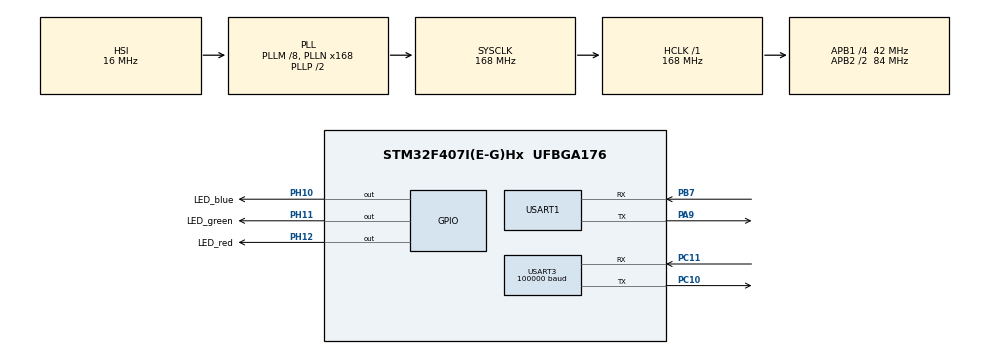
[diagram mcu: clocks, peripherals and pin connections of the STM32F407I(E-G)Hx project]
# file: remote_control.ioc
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Dma.Request0=USART1_TX
Dma.Request1=USART3_RX
Dma.USART1_TX.0.Direction=DMA_MEMORY_TO_PERIPH
Dma.USART1_TX.0.FIFOMode=DMA_FIFOMODE_DISABLE
Dma.USART1_TX.0.Instance=DMA2_Stream7
Dma.USART1_TX.0.MemDataAlignment=DMA_MDATAALIGN_BYTE
Dma.USART1_TX.0.MemInc=DMA_MINC_ENABLE
Dma.USART1_TX.0.Mode=DMA_NORMAL
Dma.USART1_TX.0.PeriphDataAlignment=DMA_PDATAALIGN_BYTE
Dma.USART1_TX.0.PeriphInc=DMA_PINC_DISABLE
Dma.USART1_TX.0.Priority=DMA_PRIORITY_VERY_HIGH
Dma.USART3_RX.1.Direction=DMA_PERIPH_TO_MEMORY
Dma.USART3_RX.1.FIFOMode=DMA_FIFOMODE_DISABLE
Dma.USART3_RX.1.Instance=DMA1_Stream1
Dma.USART3_RX.1.MemDataAlignment=DMA_MDATAALIGN_BYTE
Dma.USART3_RX.1.MemInc=DMA_MINC_ENABLE
Dma.USART3_RX.1.Mode=DMA_CIRCULAR
Dma.USART3_RX.1.PeriphDataAlignment=DMA_PDATAALIGN_BYTE
Dma.USART3_RX.1.PeriphInc=DMA_PINC_DISABLE
Dma.USART3_RX.1.Priority=DMA_PRIORITY_VERY_HIGH
Mcu.Family=STM32F4
Mcu.Name=STM32F407I(E-G)Hx
Mcu.Package=UFBGA176
NVIC.DMA1_Stream1_IRQn=true\:0\:0\:false\:false\:true\:false\:true\:true
NVIC.DMA2_Stream7_IRQn=true\:0\:0\:false\:false\:true\:false\:true\:true
NVIC.PriorityGroup=NVIC_PRIORITYGROUP_4
NVIC.USART1_IRQn=true\:0\:0\:false\:false\:true\:false\:true\:true
NVIC.USART3_IRQn=true\:0\:0\:false\:false\:true\:true\:true\:true
PA13.Mode=Serial_Wire
PA13.Signal=SYS_JTMS-SWDIO
PA14.Mode=Serial_Wire
PA14.Signal=SYS_JTCK-SWCLK
PA9.Mode=Asynchronous
PA9.Signal=USART1_TX
PB7.Mode=Asynchronous
PB7.Signal=USART1_RX
PC10.Mode=Asynchronous
PC10.Signal=USART3_TX
PC11.Mode=Asynchronous
PC11.Signal=USART3_RX
PC14-OSC32_IN.Mode=LSE-External-Oscillator
PC14-OSC32_IN.Signal=RCC_OSC32_IN
PC15-OSC32_OUT.Mode=LSE-External-Oscillator
PC15-OSC32_OUT.Signal=RCC_OSC32_OUT
PH0-OSC_IN.Mode=HSE-External-Oscillator
PH0-OSC_IN.Signal=RCC_OSC_IN
PH1-OSC_OUT.Mode=HSE-External-Oscillator
PH1-OSC_OUT.Signal=RCC_OSC_OUT
PH10.GPIO_Label=LED_blue
PH10.GPIO_PuPd=GPIO_PULLUP
PH10.GPIO_Speed=GPIO_SPEED_FREQ_HIGH
PH10.PinState=GPIO_PIN_SET
PH10.Signal=GPIO_Output
PH11.GPIO_Label=LED_green
PH11.GPIO_PuPd=GPIO_PULLUP
PH11.GPIO_Speed=GPIO_SPEED_FREQ_HIGH
PH11.PinState=GPIO_PIN_SET
PH11.Signal=GPIO_Output
PH12.GPIO_Label=LED_red
PH12.GPIO_PuPd=GPIO_PULLUP
PH12.GPIO_Speed=GPIO_SPEED_FREQ_HIGH
PH12.PinState=GPIO_PIN_SET
PH12.Signal=GPIO_Output
ProjectManager.HeapSize=0x200
ProjectManager.StackSize=0x400
ProjectManager.TargetToolchain=MDK-ARM V5.32
RCC.48MHZClocksFreq_Value=84000000
RCC.AHBFreq_Value=168000000
RCC.APB1CLKDivider=RCC_HCLK_DIV4
RCC.APB1Freq_Value=42000000
RCC.APB1TimFreq_Value=84000000
RCC.APB2CLKDivider=RCC_HCLK_DIV2
RCC.APB2Freq_Value=84000000
RCC.APB2TimFreq_Value=168000000
RCC.CortexFreq_Value=168000000
RCC.HCLKFreq_Value=168000000
RCC.HSE_VALUE=25000000
RCC.HSI_VALUE=16000000
RCC.PLLM=8
RCC.PLLN=168
RCC.SYSCLKFreq_VALUE=168000000
RCC.SYSCLKSource=RCC_SYSCLKSOURCE_PLLCLK
RCC.VCOOutputFreq_Value=336000000
USART1.VirtualMode=VM_ASYNC
USART3.BaudRate=100000
USART3.Parity=PARITY_EVEN
USART3.VirtualMode=VM_ASYNC
board=custom

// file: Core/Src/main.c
/* USER CODE BEGIN Header */
/**
  ******************************************************************************
  * @file           : main.c
  * @brief          : Main program body
  ******************************************************************************
  * @attention
  *
  * Copyright (c) 2025 STMicroelectronics.
  * All rights reserved.
  *
  * This software is licensed under terms that can be found in the LICENSE file
  * in the root directory of this software component.
  * If no LICENSE file comes with this software, it is provided AS-IS.
  *
  ******************************************************************************
  */
/* USER CODE END Header */
#include "main.h"
#include "dma.h"
#include "usart.h"
#include "gpio.h"

/* USER CODE BEGIN Includes */
#include "rc.h"
#include "uart.h"
#include <stdio.h>
#include <stdarg.h>
#include "string.h"
/* USER CODE END Includes */

/* USER CODE BEGIN PV */
uint8_t UARTBUF[100];

uint8_t len = 0;

/* USER CODE END PV */

void SystemClock_Config(void);

/* USER CODE BEGIN 0 */
const RC_ctrl_t *local_rc_ctrl;

void usart_printf(const char *fmt,...)
{
    static uint8_t tx_buf[256] = {0};
    static va_list ap;
    static uint16_t len;
    va_start(ap, fmt);

    //return length of string
    //返回字符串长度
    len = vsprintf((char *)tx_buf, fmt, ap);

    va_end(ap);

   //usart1_tx_dma_enable(tx_buf, len);
   HAL_UART_Transmit_DMA(&huart1, tx_buf, len);

}

// void HAL_UART_RxCpltCallback(UART_HandleTypeDef *huart)
// {

// }
/* USER CODE END 0 */

int main(void)
{

  /* MCU Configuration--------------------------------------------------------*/

  /* Reset of all peripherals, Initializes the Flash interface and the Systick. */
  HAL_Init();

  /* Configure the system clock */
  SystemClock_Config();

  /* Initialize all configured peripherals */
  MX_GPIO_Init();
  MX_DMA_Init();
  MX_USART1_UART_Init();
  MX_USART3_UART_Init();
  /* USER CODE BEGIN 2 */
//  	HAL_GPIO_WritePin(LED_red_GPIO_Port, LED_red_Pin, GPIO_PIN_RESET);
//    HAL_GPIO_WritePin(LED_green_GPIO_Port, LED_green_Pin, GPIO_PIN_RESET);
//    HAL_GPIO_WritePin(LED_blue_GPIO_Port, LED_blue_Pin, GPIO_PIN_RESET);
//
  remote_control_init();
  usart1_tx_dma_init();
  local_rc_ctrl = get_remote_control_point();

  /* USER CODE END 2 */

  /* Infinite loop */
  while (1)
  {

    /* USER CODE BEGIN 3 */
     usart_printf(
"**********\r\n\
ch0:%d\r\n\
ch1:%d\r\n\
ch2:%d\r\n\
ch3:%d\r\n\
ch4:%d\r\n\
s1:%d\r\n\
s2:%d\r\n\
mouse_x:%d\r\n\
mouse_y:%d\r\n\
press_l:%d\r\n\
press_r:%d\r\n\
key:%d\r\n\
**********\r\n",
            local_rc_ctrl->rc.ch[0], local_rc_ctrl->rc.ch[1], local_rc_ctrl->rc.ch[2], local_rc_ctrl->rc.ch[3], local_rc_ctrl->rc.ch[4],
            local_rc_ctrl->rc.s[0], local_rc_ctrl->rc.s[1],
            local_rc_ctrl->mouse.x, local_rc_ctrl->mouse.y,local_rc_ctrl->mouse.z, local_rc_ctrl->mouse.press_l, local_rc_ctrl->mouse.press_r,
            local_rc_ctrl->key.v);

        HAL_Delay(200);

  ///////////////////////////********************************************* */
  //to test the dma transmit;
//   usart_printf("len = %d\r\n", len);
//   HAL_Delay(1000);
//   len++;

  }
  /* USER CODE END 3 */
}

void SystemClock_Config(void)
{
  RCC_OscInitTypeDef RCC_OscInitStruct = {0};
  RCC_ClkInitTypeDef RCC_ClkInitStruct = {0};

  /** Configure the main internal regulator output voltage
  */
  __HAL_RCC_PWR_CLK_ENABLE();
  __HAL_PWR_VOLTAGESCALING_CONFIG(PWR_REGULATOR_VOLTAGE_SCALE1);

  /** Initializes the RCC Oscillators according to the specified parameters
  * in the RCC_OscInitTypeDef structure.
  */
  RCC_OscInitStruct.OscillatorType = RCC_OSCILLATORTYPE_HSI;
  RCC_OscInitStruct.HSIState = RCC_HSI_ON;
  RCC_OscInitStruct.HSICalibrationValue = RCC_HSICALIBRATION_DEFAULT;
  RCC_OscInitStruct.PLL.PLLState = RCC_PLL_ON;
  RCC_OscInitStruct.PLL.PLLSource = RCC_PLLSOURCE_HSI;
  RCC_OscInitStruct.PLL.PLLM = 8;
  RCC_OscInitStruct.PLL.PLLN = 168;
  RCC_OscInitStruct.PLL.PLLP = RCC_PLLP_DIV2;
  RCC_OscInitStruct.PLL.PLLQ = 4;
  if (HAL_RCC_OscConfig(&RCC_OscInitStruct) != HAL_OK)
  {
    Error_Handler();
  }

  /** Initializes the CPU, AHB and APB buses clocks
  */
  RCC_ClkInitStruct.ClockType = RCC_CLOCKTYPE_HCLK|RCC_CLOCKTYPE_SYSCLK
                              |RCC_CLOCKTYPE_PCLK1|RCC_CLOCKTYPE_PCLK2;
  RCC_ClkInitStruct.SYSCLKSource = RCC_SYSCLKSOURCE_PLLCLK;
  RCC_ClkInitStruct.AHBCLKDivider = RCC_SYSCLK_DIV1;
  RCC_ClkInitStruct.APB1CLKDivider = RCC_HCLK_DIV4;
  RCC_ClkInitStruct.APB2CLKDivider = RCC_HCLK_DIV2;

  if (HAL_RCC_ClockConfig(&RCC_ClkInitStruct, FLASH_LATENCY_5) != HAL_OK)
  {
    Error_Handler();
  }
}

void Error_Handler(void)
{
  __disable_irq();
  while (1)
  {
  }
}
